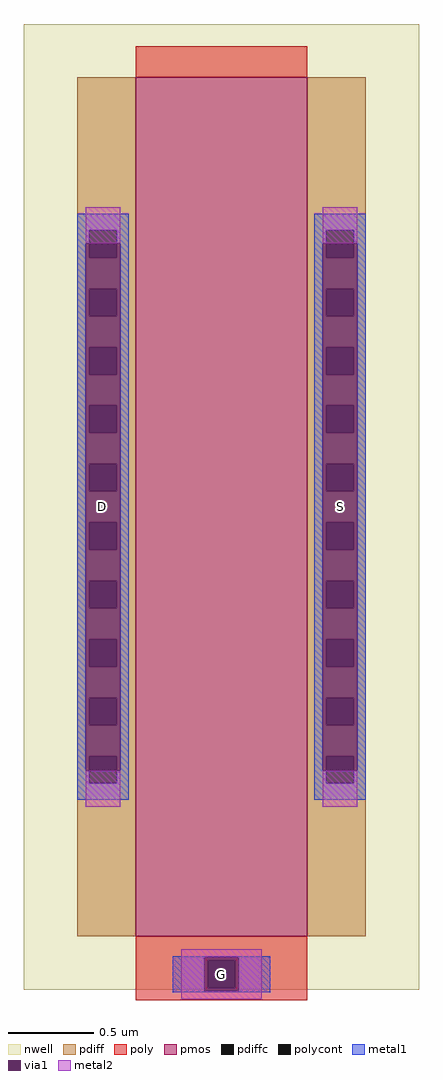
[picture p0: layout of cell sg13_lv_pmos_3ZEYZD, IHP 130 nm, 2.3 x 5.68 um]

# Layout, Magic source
magic
tech ihp-sg13g2
magscale 1 2
<< nwell >>
rect -230 -543 230 581
<< pmos >>
rect -100 -481 100 519
<< pdiff >>
rect -168 341 -100 519
rect -168 309 -154 341
rect -122 309 -100 341
rect -168 273 -100 309
rect -168 241 -154 273
rect -122 241 -100 273
rect -168 205 -100 241
rect -168 173 -154 205
rect -122 173 -100 205
rect -168 137 -100 173
rect -168 105 -154 137
rect -122 105 -100 137
rect -168 69 -100 105
rect -168 37 -154 69
rect -122 37 -100 69
rect -168 1 -100 37
rect -168 -31 -154 1
rect -122 -31 -100 1
rect -168 -67 -100 -31
rect -168 -99 -154 -67
rect -122 -99 -100 -67
rect -168 -135 -100 -99
rect -168 -167 -154 -135
rect -122 -167 -100 -135
rect -168 -203 -100 -167
rect -168 -235 -154 -203
rect -122 -235 -100 -203
rect -168 -271 -100 -235
rect -168 -303 -154 -271
rect -122 -303 -100 -271
rect -168 -481 -100 -303
rect 100 341 168 519
rect 100 309 122 341
rect 154 309 168 341
rect 100 273 168 309
rect 100 241 122 273
rect 154 241 168 273
rect 100 205 168 241
rect 100 173 122 205
rect 154 173 168 205
rect 100 137 168 173
rect 100 105 122 137
rect 154 105 168 137
rect 100 69 168 105
rect 100 37 122 69
rect 154 37 168 69
rect 100 1 168 37
rect 100 -31 122 1
rect 154 -31 168 1
rect 100 -67 168 -31
rect 100 -99 122 -67
rect 154 -99 168 -67
rect 100 -135 168 -99
rect 100 -167 122 -135
rect 154 -167 168 -135
rect 100 -203 168 -167
rect 100 -235 122 -203
rect 154 -235 168 -203
rect 100 -271 168 -235
rect 100 -303 122 -271
rect 154 -303 168 -271
rect 100 -481 168 -303
<< pdiffc >>
rect -154 309 -122 341
rect -154 241 -122 273
rect -154 173 -122 205
rect -154 105 -122 137
rect -154 37 -122 69
rect -154 -31 -122 1
rect -154 -99 -122 -67
rect -154 -167 -122 -135
rect -154 -235 -122 -203
rect -154 -303 -122 -271
rect 122 309 154 341
rect 122 241 154 273
rect 122 173 154 205
rect 122 105 154 137
rect 122 37 154 69
rect 122 -31 154 1
rect 122 -99 154 -67
rect 122 -167 154 -135
rect 122 -235 154 -203
rect 122 -303 154 -271
<< poly >>
rect -100 519 100 555
rect -100 -509 100 -481
rect -100 -541 -16 -509
rect 16 -541 100 -509
rect -100 -555 100 -541
<< polycont >>
rect -16 -541 16 -509
<< metal1 >>
rect -168 341 -108 360
rect -168 326 -154 341
rect -122 326 -108 341
rect -168 -288 -158 326
rect -118 -288 -108 326
rect -168 -303 -154 -288
rect -122 -303 -108 -288
rect -168 -322 -108 -303
rect 108 341 168 360
rect 108 326 122 341
rect 154 326 168 341
rect 108 -288 118 326
rect 158 -288 168 326
rect 108 -303 122 -288
rect 154 -303 168 -288
rect 108 -322 168 -303
rect -57 -505 57 -504
rect -57 -545 -20 -505
rect 20 -545 57 -505
rect -57 -546 57 -545
<< via1 >>
rect -158 309 -154 326
rect -154 309 -122 326
rect -122 309 -118 326
rect -158 273 -118 309
rect -158 241 -154 273
rect -154 241 -122 273
rect -122 241 -118 273
rect -158 205 -118 241
rect -158 173 -154 205
rect -154 173 -122 205
rect -122 173 -118 205
rect -158 137 -118 173
rect -158 105 -154 137
rect -154 105 -122 137
rect -122 105 -118 137
rect -158 69 -118 105
rect -158 37 -154 69
rect -154 37 -122 69
rect -122 37 -118 69
rect -158 1 -118 37
rect -158 -31 -154 1
rect -154 -31 -122 1
rect -122 -31 -118 1
rect -158 -67 -118 -31
rect -158 -99 -154 -67
rect -154 -99 -122 -67
rect -122 -99 -118 -67
rect -158 -135 -118 -99
rect -158 -167 -154 -135
rect -154 -167 -122 -135
rect -122 -167 -118 -135
rect -158 -203 -118 -167
rect -158 -235 -154 -203
rect -154 -235 -122 -203
rect -122 -235 -118 -203
rect -158 -271 -118 -235
rect -158 -288 -154 -271
rect -154 -288 -122 -271
rect -122 -288 -118 -271
rect 118 309 122 326
rect 122 309 154 326
rect 154 309 158 326
rect 118 273 158 309
rect 118 241 122 273
rect 122 241 154 273
rect 154 241 158 273
rect 118 205 158 241
rect 118 173 122 205
rect 122 173 154 205
rect 154 173 158 205
rect 118 137 158 173
rect 118 105 122 137
rect 122 105 154 137
rect 154 105 158 137
rect 118 69 158 105
rect 118 37 122 69
rect 122 37 154 69
rect 154 37 158 69
rect 118 1 158 37
rect 118 -31 122 1
rect 122 -31 154 1
rect 154 -31 158 1
rect 118 -67 158 -31
rect 118 -99 122 -67
rect 122 -99 154 -67
rect 154 -99 158 -67
rect 118 -135 158 -99
rect 118 -167 122 -135
rect 122 -167 154 -135
rect 154 -167 158 -135
rect 118 -203 158 -167
rect 118 -235 122 -203
rect 122 -235 154 -203
rect 154 -235 158 -203
rect 118 -271 158 -235
rect 118 -288 122 -271
rect 122 -288 154 -271
rect 154 -288 158 -271
rect -20 -509 20 -505
rect -20 -541 -16 -509
rect -16 -541 16 -509
rect 16 -541 20 -509
rect -20 -545 20 -541
<< metal2 >>
rect -158 326 -118 368
rect -158 -330 -118 -288
rect 118 326 158 368
rect 118 -330 158 -288
rect -47 -505 47 -496
rect -47 -545 -20 -505
rect 20 -545 47 -505
rect -47 -554 47 -545
<< labels >>
rlabel metal1 s -138 19 -138 19 4 D
rlabel metal1 s 138 19 138 19 4 S
rlabel metal1 s 0 -525 0 -525 4 G
<< end >>
